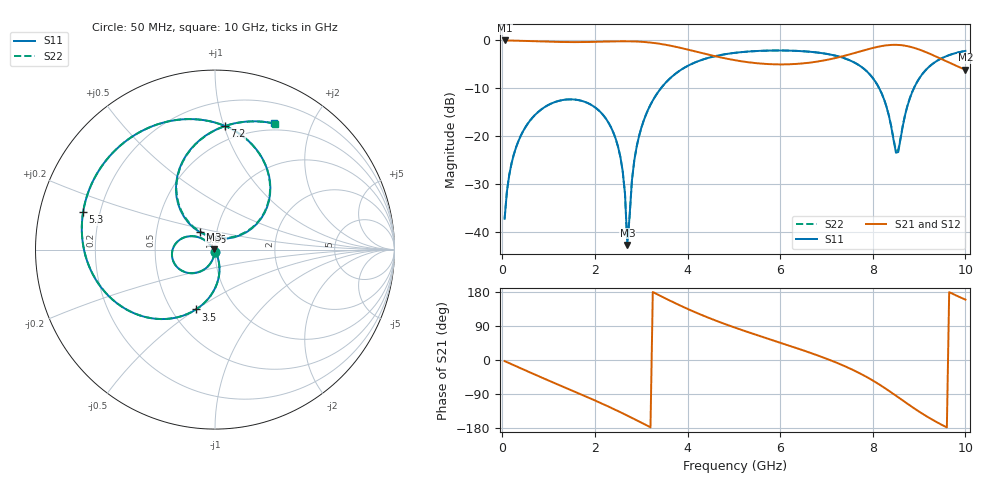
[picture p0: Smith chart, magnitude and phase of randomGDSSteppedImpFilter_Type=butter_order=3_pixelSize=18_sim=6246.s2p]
! freq	dB(S11)	phase(S11)	dB(S12)	phase(S12)
!  dB(S21)	phase(S21)	dB(S22)	phase(S22)
!S-par simulation data
#  GHz  S  DB  R 50
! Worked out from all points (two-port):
!   200 points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, 50 MHz to 10 GHz, reference 50 ohm
!   highest |S21| = -0.01 dB at 50 MHz (marker M1); lowest = -6.1 dB at 10 GHz (marker M2)
!   |S21| within 3 dB of the highest: start of sweep to 4.469 GHz; 7.467 GHz to 9.283 GHz (1.816 GHz wide, 21.7 % of centre)
!   lowest |S11| = -42.7 dB at 2.7 GHz (marker M3), VSWR 1.01, Z = 49.3 + j0.18 ohm
!   |S11| at or under -10 dB: start of sweep to 3.426 GHz; 8.139 GHz to 8.888 GHz (749 MHz wide, 8.8 % of centre)
!   |S22| runs from -43.0 to -2.1 dB; largest |S21 - S12| = 0
!   S11 on the Smith chart (normalised r, x): 50 MHz: 1.00, -0.03; 3.5 GHz: 0.66, -0.50; 5.3 GHz: 0.14, +0.14; 7.2 GHz: 0.38, +1.01; 8.65 GHz: 0.83, +0.16; 10 GHz: 0.42, +1.49
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0.05  -37.23 -96.6  -0.01 -2.9  -0.01 -2.9  -37.22 -96.5
0.2  -25.66 -102.5  -0.05 -11.1  -0.05 -11.1  -25.65 -102.5
0.55  -17.38 -120.8  -0.13 -30.2  -0.13 -30.2  -17.38 -120.8
1.75  -12.73 176.4  -0.35 -93.3  -0.35 -93.3  -12.73 176.3
2.45  -20.58 139.7  -0.20 -131.9  -0.20 -131.9  -20.58 139.4
2.6  -27.30 134.2  -0.19 -140.7  -0.19 -140.7  -27.30 133.7
2.7  -42.67 165.6  -0.19 -146.7  -0.19 -146.7  -42.95 163.5
2.8  -29.14 -71.3  -0.21 -152.8  -0.21 -152.8  -29.15 -70.8
2.9  -22.25 -73.3  -0.24 -158.9  -0.24 -158.9  -22.25 -73.1
3.4  -10.32 -101.6  -0.71 170.1  -0.71 170.1  -10.32 -101.6
3.5  -9.13 -107.5  -0.87 163.9  -0.87 163.9  -9.13 -107.6
4.2  -4.45 -146.6  -2.38 124.2  -2.38 124.2  -4.45 -146.6
5.05  -2.56 174.3  -4.18 84.3  -4.18 84.3  -2.56 174.2
5.3  -2.34 164.0  -4.55 73.8  -4.55 73.8  -2.34 163.9
6.7  -2.42 108.0  -4.57 16.9  -4.57 16.9  -2.42 108.0
7.2  -3.20 85.6  -3.67 -6.2  -3.67 -6.2  -3.20 85.6
7.85  -6.28 50.8  -1.97 -43.6  -1.97 -43.6  -6.27 51.1
8.35  -15.82 29.5  -0.98 -81.4  -0.98 -81.4  -15.75 30.5
8.5  -23.44 66.2  -0.93 -94.1  -0.93 -94.1  -23.03 67.0
8.65  -17.79 131.1  -1.04 -107.0  -1.04 -107.0  -17.67 129.8
9.2  -5.65 110.4  -2.67 -151.3  -2.67 -151.3  -5.65 110.1
10  -2.19 64.8  -6.14 159.3  -6.14 159.3  -2.19 64.7
